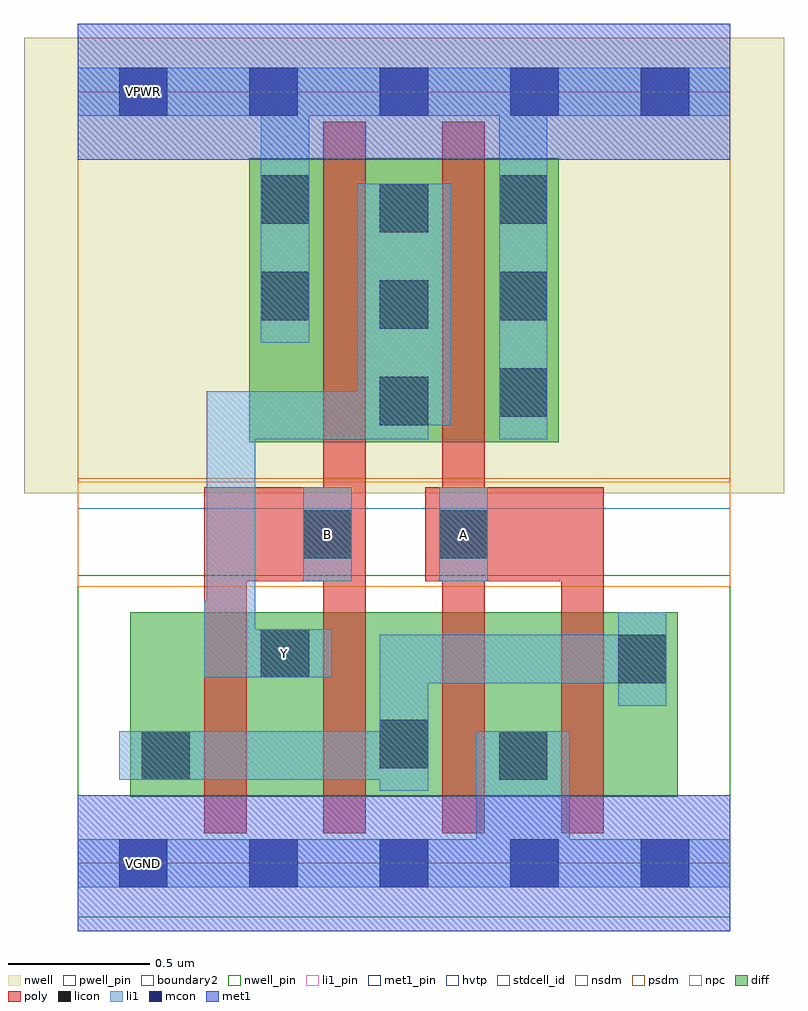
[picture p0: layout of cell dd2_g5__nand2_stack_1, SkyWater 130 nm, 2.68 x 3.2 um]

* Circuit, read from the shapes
.subckt dd2_g5__nand2_stack_1 A B VGND VNB VPB VPWR Y
XM1 Y B n1 VNB sky130_fd_pr__nfet_01v8 w=0.65 l=0.15 m=2
XM2 VGND A n1 VNB sky130_fd_pr__nfet_01v8 w=0.65 l=0.15 m=2
XM3 Y B VPWR VPB sky130_fd_pr__pfet_01v8_hvt w=1 l=0.15
XM4 VPWR A Y VPB sky130_fd_pr__pfet_01v8_hvt w=1 l=0.15
.ends

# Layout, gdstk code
import gdstk
lib = gdstk.Library(unit=1e-6, precision=1e-09)
def R(c, l, rs):  # rectangles x0, y0, x1, y1
    for r in rs: c.add(gdstk.rectangle(r[:2], r[2:], *l))
def A(c, l, x, y, w, h, nx, ny, dx, dy):  # array of equal rectangles
    R(c, l, [(x+i*dx, y+j*dy, x+i*dx+w, y+j*dy+h) for i in range(nx) for j in range(ny)])
nwell_pin = (64, 16)
nwell = (64, 20)
diff = (65, 20)
poly = (66, 20)
licon = (66, 44)
li1_pin = (67, 16)
li1 = (67, 20)
mcon = (67, 44)
met1_pin = (68, 16)
met1 = (68, 20)
hvtp = (78, 44)
stdcell_id = (81, 4)
nsdm = (93, 44)
psdm = (94, 20)
npc = (95, 20)
pwell_pin = (122, 16)
boundary2 = (236, 0)

dd2_g5__nand2_stack_1 = lib.new_cell('dd2_g5__nand2_stack_1')
R(dd2_g5__nand2_stack_1, nwell_pin, [(0.145,2.635,0.315,2.805)])
R(dd2_g5__nand2_stack_1, nwell, [(-0.19,1.305,2.49,2.91)])
R(dd2_g5__nand2_stack_1, diff, [(0.185,0.235,0.94,0.885), (0.52,0.235,1.36,0.885), (0.94,0.235,1.78,0.885), (1.36,0.235,2.115,0.885), (0.605,1.485,1.36,2.485), (0.94,1.485,1.695,2.485)])
R(dd2_g5__nand2_stack_1, poly, [(0.445,0.105,0.595,1.325), (0.865,0.105,1.015,2.615), (1.285,0.105,1.435,2.615), (1.705,0.105,1.855,1.325), (0.445,0.995,1.015,1.325), (0.745,0.995,1.015,1.325), (1.225,0.995,1.495,1.325), (1.285,0.995,1.855,1.325)])
A(dd2_g5__nand2_stack_1, licon, 1.065, 1.545, 0.17, 0.17, 1, 3, 0, 0.34)
A(dd2_g5__nand2_stack_1, licon, 1.485, 1.575, 0.17, 0.17, 1, 3, 0, 0.34)
R(dd2_g5__nand2_stack_1, licon, [(0.225,0.295,0.395,0.465), (1.485,0.295,1.655,0.465), (1.065,0.335,1.235,0.505), (1.905,0.635,2.075,0.805), (0.645,0.655,0.815,0.825), (0.795,1.075,0.965,1.245), (1.275,1.075,1.445,1.245), (0.645,1.915,0.815,2.085), (0.645,2.255,0.815,2.425)])
R(dd2_g5__nand2_stack_1, li1_pin, [(0.145,-0.085,0.315,0.085), (0.655,0.665,0.805,0.815), (0.805,1.085,0.955,1.235), (1.285,1.085,1.435,1.235), (0.145,2.635,0.315,2.805)])
R(dd2_g5__nand2_stack_1, li1, [(0,-0.085,2.3,0.085), (1.405,0.085,1.735,0.465), (1.065,0.255,1.235,0.295), (0.145,0.295,1.235,0.465), (1.065,0.465,1.235,0.635), (1.905,0.555,2.075,0.635), (1.065,0.635,2.075,0.805), (0.445,0.655,0.895,0.825), (1.905,0.805,2.075,0.885), (0.445,0.825,0.625,0.925), (0.455,0.925,0.625,1.495), (0.795,0.995,0.965,1.325), (1.275,0.995,1.445,1.325), (0.455,1.495,1.235,1.545), (1.485,1.495,1.655,2.635), (0.455,1.545,1.315,1.665), (0.985,1.665,1.315,2.395), (0.645,1.835,0.815,2.635), (0,2.635,2.3,2.805)])
A(dd2_g5__nand2_stack_1, mcon, 0.145, -0.085, 0.17, 0.17, 5, 2, 0.46, 2.72)
R(dd2_g5__nand2_stack_1, met1_pin, [(0.145,-0.085,0.315,0.085), (0.145,2.635,0.315,2.805)])
R(dd2_g5__nand2_stack_1, met1, [(0,-0.24,2.3,0.24), (0,2.48,2.3,2.96)])
R(dd2_g5__nand2_stack_1, hvtp, [(0,1.25,2.3,2.72)])
R(dd2_g5__nand2_stack_1, stdcell_id, [(0,0,2.3,2.72)])
R(dd2_g5__nand2_stack_1, nsdm, [(0,-0.19,2.3,1.015)])
R(dd2_g5__nand2_stack_1, psdm, [(0,1.355,2.3,2.91)])
R(dd2_g5__nand2_stack_1, npc, [(0,0.975,2.3,1.345)])
R(dd2_g5__nand2_stack_1, pwell_pin, [(0.145,-0.085,0.315,0.085)])
R(dd2_g5__nand2_stack_1, boundary2, [(0,0,2.3,2.72)])
dd2_g5__nand2_stack_1.add(gdstk.Label('VPWR', (0.23,2.72), layer=68, texttype=5))
dd2_g5__nand2_stack_1.add(gdstk.Label('VGND', (0.23,0), layer=68, texttype=5))
dd2_g5__nand2_stack_1.add(gdstk.Label('VPWR', (0.23,2.72), layer=67, texttype=5))
dd2_g5__nand2_stack_1.add(gdstk.Label('VGND', (0.23,0), layer=67, texttype=5))
dd2_g5__nand2_stack_1.add(gdstk.Label('A', (1.36,1.16), layer=67, texttype=5))
dd2_g5__nand2_stack_1.add(gdstk.Label('B', (0.88,1.16), layer=67, texttype=5))
dd2_g5__nand2_stack_1.add(gdstk.Label('Y', (0.73,0.74), layer=67, texttype=5))
dd2_g5__nand2_stack_1.add(gdstk.Label('VPB', (0.23,2.72), layer=64, texttype=5))
dd2_g5__nand2_stack_1.add(gdstk.Label('VNB', (0.23,0), layer=64, texttype=59))

lib.write_gds('dd2_g5__nand2_stack_1.gds')
